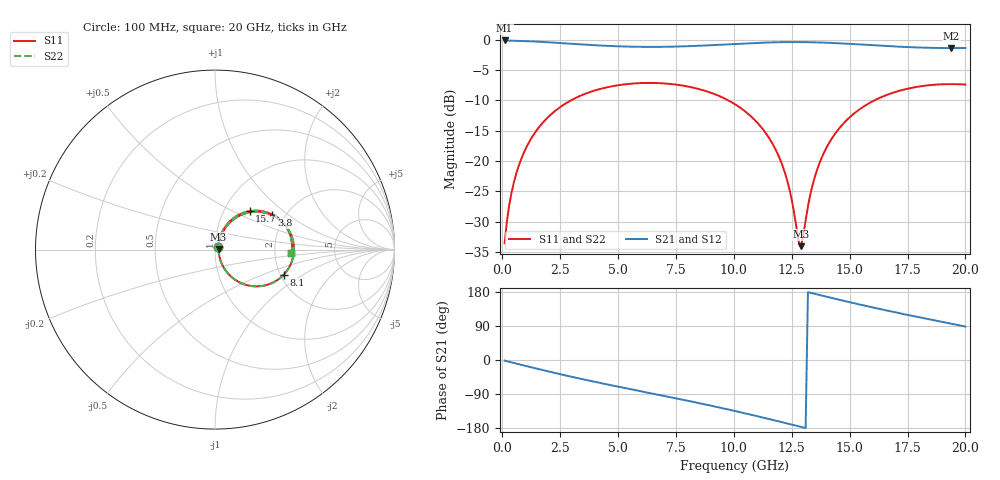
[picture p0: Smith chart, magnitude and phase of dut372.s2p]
! Touchstone file exported from HFSS 2026.1.0
!  File:  C:/ffzhzh/LocalFiles/Ansys_Project_Files/temp_train_TSV_RDL_372_1783041044_53980.aedt
!  Generated:  09:28:35 AM Jul  3, 2026
!  Design:  TSV_RDL
!  Project:  temp_train_TSV_RDL_372_1783041044_53980
! Variables:
!  h_bsmrdl = 4.77um
!  h_ox = 20um
!  h_rdl = 5um
!  h_sub = 80.16um
!  h_tmrdl = 4.03um
!  h_tsv = 80.16um
!  h_via = 3um
!  l_bsmrdl = 403.67um
!  l_sub = 4640.48um
!  l_tmrdl = 720.7um
!  m_sub = 200um
!  pitch = 46.3um
!  r_tsv = 8.58um
!  s_tmrdl = 10um
!  w_bsmrdl = 23.84um
!  w_sub = 500um
!  w_tmrdl = 25.05um
!  x_tsv_center1 = 733.225um
!  x_tsv_center2 = 1160.735um
!  x_tsv_center3 = 1906.485um
!  x_tsv_center4 = 2333.995um
!  x_tsv_center5 = 3079.745um
!  x_tsv_center6 = 3507.255um
# GHz S MA R 50.000000
! Terminal data exported
! Port[1] = TM_RDL1_1_T1
! Port[2] = TM_RDL5_1_T1
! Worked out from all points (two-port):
!   200 points, 100 MHz to 20 GHz, reference 50 ohm
!   highest |S21| = -0.14 dB at 100 MHz (marker M1); lowest = -1.4 dB at 19.4 GHz (marker M2)
!   |S21| within 3 dB of the highest: start of sweep to end of sweep
!   lowest |S11| = -34.0 dB at 12.9 GHz (marker M3), VSWR 1.04, Z = 52 + j0.32 ohm
!   |S11| at or under -10 dB: start of sweep to 2.97 GHz; 9.752 GHz to 16.07 GHz (6.323 GHz wide, 49 % of centre)
!   |S22| runs from -34.1 to -7.1 dB; largest |S21 - S12| = 3.2e-14
!   S11 on the Smith chart (normalised r, x): 100 MHz: 1.03, +0.03; 3.8 GHz: 1.71, +0.76; 8.1 GHz: 2.08, -0.70; 15.7 GHz: 1.32, +0.61; 20 GHz: 2.48, -0.13
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0.1  0.02103 40.1  0.9842 -1.6  0.9842 -1.6  0.02103 40.1
! Gamma 0 0 0 0
! Port Impedance 50 0 50 0
0.3  0.04336 61.2  0.9816 -4.8  0.9816 -4.8  0.04336 61.2
0.5  0.06669 65.9  0.9793 -7.9  0.9793 -7.9  0.06669 65.9
1.1  0.1365 64.4  0.9704 -17.0  0.9704 -17.0  0.1365 64.4
2.1  0.2418 53.0  0.948 -31.8  0.948 -31.8  0.2418 53.0
3.5  0.3529 35.1  0.9111 -51.1  0.9111 -51.1  0.3529 35.1
3.8  0.3706 31.3  0.9038 -55.1  0.9038 -55.1  0.3706 31.3
6.8  0.4378 -4.6  0.8716 -92.5  0.8716 -92.5  0.4378 -4.6
8.1  0.4077 -20.0  0.8837 -108.7  0.8837 -108.7  0.4077 -20.0
10.1  0.2893 -44.7  0.9223 -135.3  0.9223 -135.3  0.2894 -44.7
11.1  0.1982 -56.8  0.9414 -149.6  0.9414 -149.6  0.1983 -56.8
11.9  0.1138 -64.0  0.9516 -161.4  0.9516 -161.4  0.1138 -64.0
12.4  0.05871 -61.7  0.9545 -168.9  0.9545 -168.9  0.0587 -61.8
12.8  0.02167 -21.7  0.9546 -175.0  0.9546 -175.0  0.02158 -21.9
12.9  0.01989 8.9  0.9543 -176.5  0.9543 -176.5  0.01976 8.9
13.4  0.06339 65.9  0.9509 176.0  0.9509 176.0  0.06331 66.1
13.8  0.1071 67.6  0.9461 170.0  0.9461 170.0  0.107 67.7
14.3  0.1603 64.0  0.9379 162.6  0.9379 162.6  0.1602 64.1
15.7  0.2885 47.9  0.9066 142.7  0.9066 142.7  0.2885 48.0
16.7  0.3557 35.7  0.8835 129.4  0.8835 129.4  0.3557 35.8
19.4  0.4301 4.1  0.8519 95.6  0.8519 95.6  0.43 4.2
20  0.426 -2.8  0.8535 88.2  0.8535 88.2  0.426 -2.7
